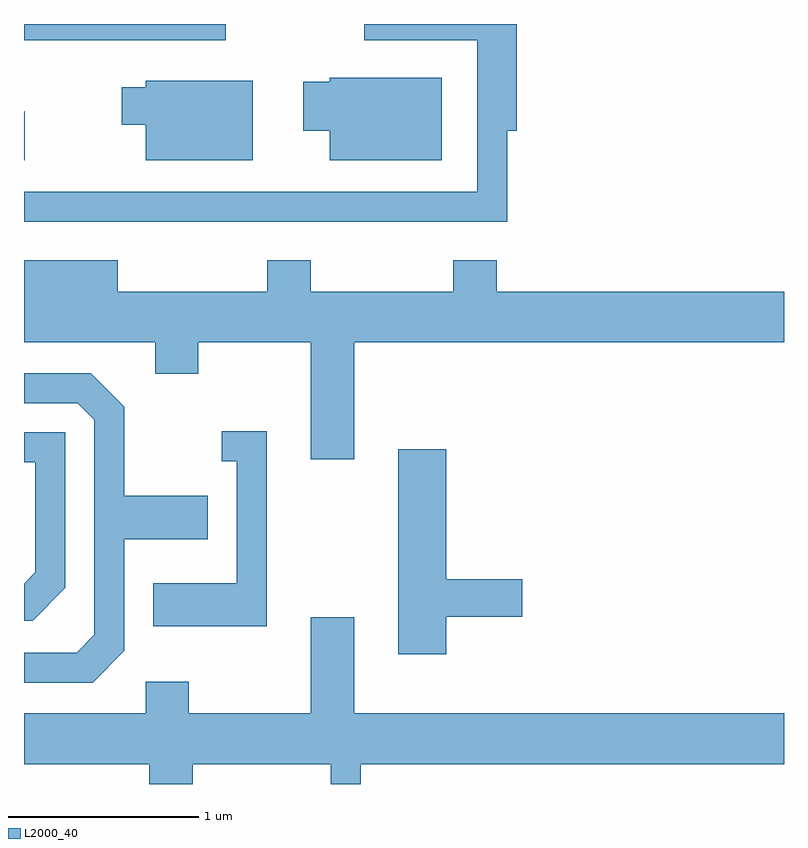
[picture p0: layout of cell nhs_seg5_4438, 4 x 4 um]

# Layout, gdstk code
import gdstk
lib = gdstk.Library(unit=1e-6, precision=1e-09)
def R(c, l, rs):  # rectangles x0, y0, x1, y1
    for r in rs: c.add(gdstk.rectangle(r[:2], r[2:], *l))
def P(c, l, *ps):  # polygons
    for p in ps: c.add(gdstk.Polygon(p, *l))
L2000_40 = (2000, 40)

nhs_seg5_4438 = lib.new_cell('nhs_seg5_4438')
R(nhs_seg5_4438, L2000_40, [(317.611,1413.356,317.614,1413.614), (317.611,1413.986,318.673,1414.072)])
P(nhs_seg5_4438, L2000_40, [(320.154,1413.511),(320.204,1413.511),(320.204,1414.072),(319.403,1414.072),(319.403,1413.986),(319.996,1413.986),(319.996,1413.189),(317.611,1413.189),(317.611,1413.031),(320.154,1413.031)],
  [(319.809,1413.789),(319.221,1413.789),(319.221,1413.769),(319.081,1413.769),(319.081,1413.511),(319.221,1413.511),(319.221,1413.356),(319.809,1413.356)],
  [(318.814,1413.774),(318.251,1413.774),(318.251,1413.739),(318.126,1413.739),(318.126,1413.541),(318.251,1413.541),(318.251,1413.356),(318.814,1413.356)],
  [(318.104,1412.829),(317.611,1412.829),(317.611,1412.396),(318.301,1412.396),(318.301,1412.231),(318.529,1412.231),(318.529,1412.396),(319.121,1412.396),(319.121,1411.781),(319.349,1411.781),(319.349,1412.396),(321.611,1412.396),(321.611,1412.664),(320.099,1412.664),(320.099,1412.829),(319.871,1412.829),(319.871,1412.664),(319.119,1412.664),(319.119,1412.829),(318.891,1412.829),(318.891,1412.664),(318.104,1412.664)],
  [(318.139,1410.774),(318.139,1411.361),(318.579,1411.361),(318.579,1411.589),(318.139,1411.589),(318.139,1412.057),(317.962,1412.234),(317.611,1412.234),(317.611,1412.076),(317.894,1412.076),(317.981,1411.989),(317.981,1410.857),(317.889,1410.764),(317.611,1410.764),(317.611,1410.606),(317.972,1410.606)],
  [(318.889,1411.929),(318.653,1411.929),(318.653,1411.771),(318.731,1411.771),(318.731,1411.129),(318.291,1411.129),(318.291,1410.901),(318.889,1410.901)],
  [(317.829,1411.104),(317.829,1411.924),(317.611,1411.924),(317.611,1411.766),(317.671,1411.766),(317.671,1411.187),(317.611,1411.126),(317.611,1410.931),(317.657,1410.931)],
  [(319.834,1410.951),(320.234,1410.951),(320.234,1411.149),(319.834,1411.149),(319.834,1411.834),(319.581,1411.834),(319.581,1410.756),(319.834,1410.756)],
  [(318.479,1410.609),(318.251,1410.609),(318.251,1410.444),(317.611,1410.444),(317.611,1410.176),(318.271,1410.176),(318.271,1410.072),(318.499,1410.072),(318.499,1410.176),(319.226,1410.176),(319.226,1410.072),(319.384,1410.072),(319.384,1410.176),(321.611,1410.176),(321.611,1410.444),(319.349,1410.444),(319.349,1410.949),(319.121,1410.949),(319.121,1410.444),(318.479,1410.444)])

lib.write_gds('nhs_seg5_4438.gds')
